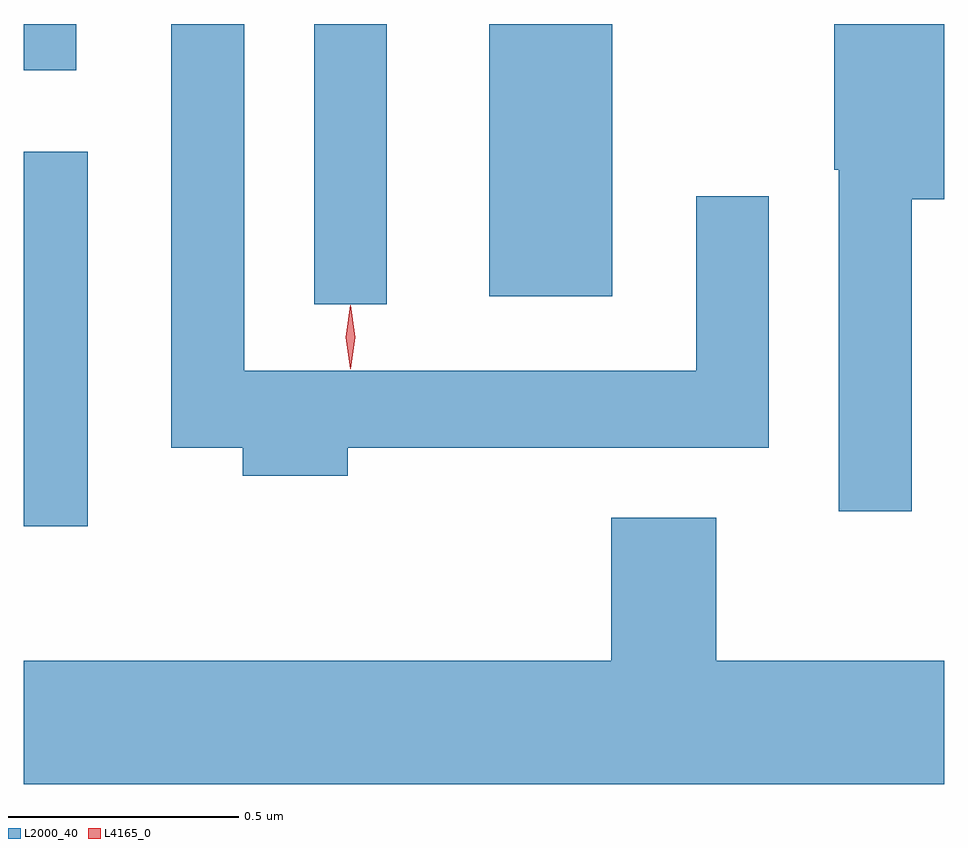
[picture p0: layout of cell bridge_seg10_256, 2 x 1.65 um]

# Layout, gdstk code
import gdstk
lib = gdstk.Library(unit=1e-6, precision=1e-09)
def R(c, l, rs):  # rectangles x0, y0, x1, y1
    for r in rs: c.add(gdstk.rectangle(r[:2], r[2:], *l))
def P(c, l, *ps):  # polygons
    for p in ps: c.add(gdstk.Polygon(p, *l))
L2000_40 = (2000, 40)
L4165_0 = (4165, 0)

bridge_seg10_256 = lib.new_cell('bridge_seg10_256')
R(bridge_seg10_256, L2000_40, [(1739.015,2098.936,1739.154,2099.749), (1739.646,2099.418,1739.804,2100.027), (1740.026,2099.436,1740.294,2100.027), (1739.015,2099.926,1739.129,2100.027)])
P(bridge_seg10_256, L2000_40, [(1740.944,2099.646),(1741.015,2099.646),(1741.015,2100.027),(1740.776,2100.027),(1740.776,2099.71),(1740.786,2099.71),(1740.786,2098.968),(1740.944,2098.968)],
  [(1739.719,2099.106),(1740.634,2099.106),(1740.634,2099.653),(1740.476,2099.653),(1740.476,2099.274),(1739.494,2099.274),(1739.494,2100.027),(1739.336,2100.027),(1739.336,2099.106),(1739.491,2099.106),(1739.491,2099.046),(1739.719,2099.046)],
  [(1741.015,2098.644),(1740.519,2098.644),(1740.519,2098.954),(1740.291,2098.954),(1740.291,2098.644),(1739.015,2098.644),(1739.015,2098.376),(1741.015,2098.376)])
P(bridge_seg10_256, L4165_0, [(1739.725,2099.279),(1739.724,2099.28),(1739.715,2099.346),(1739.724,2099.412),(1739.725,2099.413),(1739.725,2099.412),(1739.735,2099.346),(1739.725,2099.28)],
  [(1739.725,2099.277),(1739.724,2099.278),(1739.715,2099.347),(1739.724,2099.416),(1739.725,2099.416),(1739.725,2099.416),(1739.735,2099.347),(1739.725,2099.278)])

lib.write_gds('bridge_seg10_256.gds')
